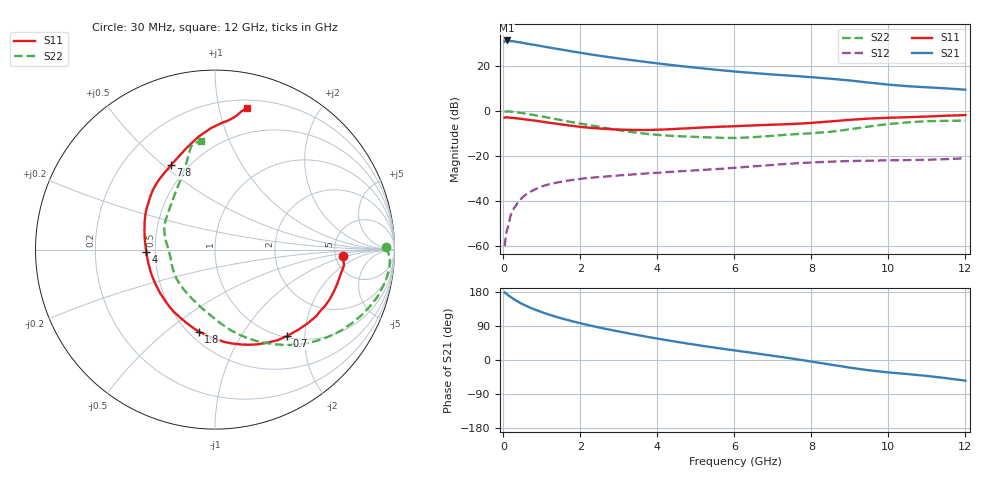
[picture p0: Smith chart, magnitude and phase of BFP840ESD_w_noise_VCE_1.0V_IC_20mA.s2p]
! Infineon Technologies  Discrete & RF Semiconductors
! BFP840ESD
! VCE =  1.0 V,  IC =  20 mA
! Common Emitter S-Parameters:  May 2012
# GHz  S  MA  R  50
!  f  S11  S21  S12  S22
! GHz  MAG  ANG  MAG  ANG  MAG  ANG  MAG  ANG
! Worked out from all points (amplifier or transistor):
!   93 points, 30 MHz to 12 GHz, reference 50 ohm
!   highest |S21| = 31.3 dB at 80 MHz (marker M1)
!   |S21| within 3 dB of that: start of sweep to 1.143 GHz
!   unconditionally stable (mu >= 1): 4.62 GHz to 9.311 GHz
!   at 1.1 GHz: K = 0.39, MSG = 30.7 dB, |S12| = -33.0 dB
!   at 4.2 GHz: K = 0.97, MSG = 24.0 dB, |S12| = -27.2 dB
!   at 12 GHz: K = 0.77, MSG = 15.2 dB, |S12| = -21.0 dB
!   lowest NFmin = 1.16 dB at 450 MHz
!   S11 on the Smith chart (normalised r, x): 30 MHz: 5.83, -0.79; 700 MHz: 1.02, -1.63; 1.8 GHz: 0.56, -0.65; 4 GHz: 0.45, -0.01; 7.8 GHz: 0.41, +0.53; 12 GHz: 0.26, +1.22
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0.03  0.7119 -2.7  34.66 178.4  0.001 105.2  0.9545 0.8
0.08  0.7245 -6.9  36.67 174.3  0.0021 97.7  0.9764 -2.7
0.13  0.7125 -11.6  35.44 170.5  0.0029 74.7  0.9767 -6.0
0.28  0.6967 -23.2  34.95 159.9  0.0071 76.1  0.9508 -14.1
0.33  0.6889 -27.0  34.26 156.6  0.0081 77.0  0.9402 -16.6
0.43  0.6749 -33.4  33.42 150.9  0.0106 73.0  0.9132 -21.1
0.7  0.6262 -50.4  30.07 137.8  0.0161 65.4  0.8381 -32.3
0.9  0.5956 -60.5  28.3 129.9  0.0195 60.2  0.7813 -39.5
1.2  0.5464 -75.1  25.47 119.3  0.0238 54.1  0.7002 -49.1
1.5  0.5031 -88.2  23.06 110.2  0.0268 49.2  0.6258 -57.5
1.8  0.4661 -101.1  20.78 101.9  0.0295 45.0  0.5626 -65.2
2.1  0.4353 -112.4  18.95 94.6  0.0319 42.1  0.5063 -72.2
2.4  0.4144 -124.2  17.24 87.6  0.0337 39.9  0.4593 -78.8
2.9  0.3899 -141.9  15.01 77.1  0.0364 37.1  0.3883 -89.7
4  0.3835 -178.0  11.38 56.5  0.0425 32.1  0.2949 -118.9
4.1  0.3855 179.0  11.12 54.7  0.043 31.8  0.2907 -121.9
5.1  0.4262 156.4  8.933 38.5  0.0488 28.1  0.2638 -148.7
6.1  0.4621 141.8  7.394 24.0  0.0556 25.5  0.2534 -173.1
7.8  0.5298 117.6  5.775 -0.9  0.0705 14.9  0.3133 153.2
8.5  0.586 106.0  5.192 -12.2  0.0751 9.0  0.3452 136.3
10.5  0.7272 83.6  3.545 -37.1  0.0811 -5.5  0.5585 104.9
12  0.8106 77.1  2.96 -54.5  0.0891 -12.8  0.611 97.3
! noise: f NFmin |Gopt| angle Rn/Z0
0.45  1.16  0.06  2  0.13
0.9  1.17  0.03  -10  0.13
1.5  1.18  0.03  -24  0.12
1.9  1.18  0.02  -48  0.12
2.4  1.19  0.03  -94  0.11
3.5  1.19  0.07  -118  0.11
5.5  1.23  0.15  -118  0.13
8  1.32  0.31  -109  0.16
10  1.41  0.53  -77  0.26
12  1.58  0.66  -65  0.36
